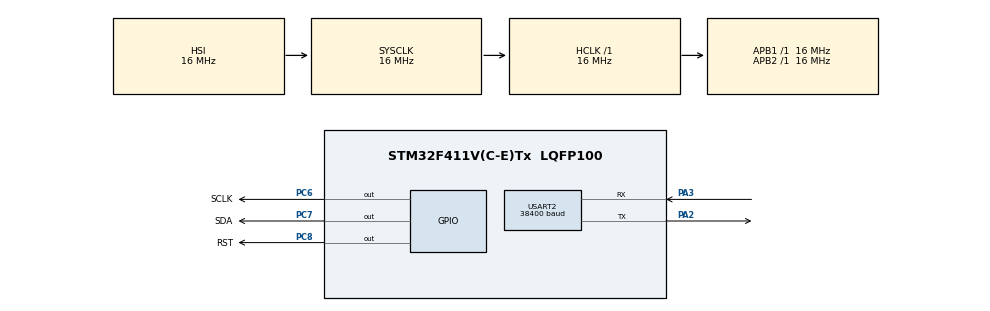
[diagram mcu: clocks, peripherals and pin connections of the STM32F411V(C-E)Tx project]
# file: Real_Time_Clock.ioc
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Mcu.Family=STM32F4
RCC.CortexFreq_Value=16000000
PC8.Signal=GPIO_Output
PC6.Signal=GPIO_Output
PC6.GPIO_Label=SCLK
USART2.BaudRate=38400
ProjectManager.StackSize=0x400
PC8.GPIO_Label=RST
PA3.Mode=Asynchronous
TIM1.Prescaler=15
ProjectManager.TargetToolchain=STM32CubeIDE
PC7.Signal=GPIO_Output
RCC.LSE_VALUE=32768
RCC.AHBFreq_Value=16000000
RCC.HSE_VALUE=25000000
board=custom
RCC.VCOOutputFreq_Value=192000000
RCC.APB2Freq_Value=16000000
Mcu.Name=STM32F411V(C-E)Tx
VP_TIM1_VS_ClockSourceINT.Mode=Internal
PA2.Signal=USART2_TX
PC7.GPIO_Label=SDA
RCC.SYSCLKFreq_VALUE=16000000
Mcu.Package=LQFP100
USART2.VirtualMode=VM_ASYNC
ProjectManager.HeapSize=0x200
RCC.HSI_VALUE=16000000
NVIC.PriorityGroup=NVIC_PRIORITYGROUP_4
PA2.Mode=Asynchronous
RCC.APB1Freq_Value=16000000
PA3.Signal=USART2_RX

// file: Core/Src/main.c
/* USER CODE BEGIN Header */
/**
  ******************************************************************************
  * @file           : main.c
  * @brief          : Main program body
  ******************************************************************************
  * @attention
  *
  * <h2><center>&copy; Copyright (c) 2021 STMicroelectronics.
  * All rights reserved.</center></h2>
  *
  * This software component is licensed by ST under BSD 3-Clause license,
  * the "License"; You may not use this file except in compliance with the
  * License. You may obtain a copy of the License at:
  *                        opensource.org/licenses/BSD-3-Clause
  *
  ******************************************************************************
  */
/* USER CODE END Header */
#include "main.h"
#include "tim.h"
#include "usart.h"
#include "gpio.h"

/* USER CODE BEGIN PD */

#define REG_SEC				0x80
#define REG_MIN				0x82
#define REG_HOUR			0x84
#define REG_DATE			0x86
#define REG_MONTH			0x88
#define REG_DAY				0x8a
#define REG_YEAR			0x8c
#define REG_CONTROL			0x8e
#define REG_CHARGER			0x90

#define HEX_to_BCD(value)	((value) % 10 + (value) / 10 * 16)
#define BCD_to_Hex(value)	((value) % 16 + (value) / 16 * 10)

#define SCLK	GPIO_PIN_6
#define SDA	GPIO_PIN_7
#define RST	GPIO_PIN_8

/* USER CODE END PD */

void SystemClock_Config(void);

/* USER CODE BEGIN 0 */

int _write(int file , char *ptr , int len){
  HAL_UART_Transmit(&huart2 , ptr , len , 50);
  return len;
}

///////////////////////////////////////////////////////////////////////////////////////////
static void Mode_Write(void) {
	GPIO_InitTypeDef GPIO_InitStructure;

	GPIO_InitStructure.Pin = SDA;
	GPIO_InitStructure.Mode =  GPIO_MODE_OUTPUT_PP;
	GPIO_InitStructure.Speed = GPIO_SPEED_HIGH;
	HAL_GPIO_Init(GPIOC, &GPIO_InitStructure);

}

static void Mode_Read(void) {
	GPIO_InitTypeDef GPIO_InitStructure;

	GPIO_InitStructure.Pin = SDA;
	GPIO_InitStructure.Mode =  GPIO_MODE_INPUT;
	GPIO_InitStructure.Pull = GPIO_PULLDOWN;
	GPIO_InitStructure.Speed = GPIO_SPEED_HIGH;
	HAL_GPIO_Init(GPIOC, &GPIO_InitStructure);
}

static void Send_Command(uint8_t command) {
	for ( uint8_t i = 0; i < 8; i ++){

		HAL_GPIO_WritePin(GPIOC, SDA, (command & 1) ?  GPIO_PIN_SET :  GPIO_PIN_RESET);
		HAL_GPIO_WritePin(GPIOC, SCLK,  GPIO_PIN_SET);

		HAL_Delay(1);
		HAL_GPIO_WritePin(GPIOC, SCLK,  GPIO_PIN_RESET);
		HAL_Delay(1);

		command >>= 1;
	}
}

static void Write_Byte(uint8_t address, uint8_t value){

	HAL_GPIO_WritePin(GPIOC, RST,  GPIO_PIN_SET);
	Send_Command(address);

	for ( uint8_t i = 0; i < 8; i ++) {
		HAL_GPIO_WritePin(GPIOC, SDA, (value & 1) ?  GPIO_PIN_SET :  GPIO_PIN_RESET);
		HAL_GPIO_WritePin(GPIOC, SCLK,  GPIO_PIN_SET);

		HAL_Delay(1);
		HAL_GPIO_WritePin(GPIOC, SCLK,  GPIO_PIN_RESET);
		HAL_Delay(1);

		value >>= 1;
	}

	HAL_GPIO_WritePin(GPIOC, RST,  GPIO_PIN_RESET);
	HAL_GPIO_WritePin(GPIOC, SDA,  GPIO_PIN_RESET);
}

static uint8_t Read_Byte(uint8_t address)
{
	uint8_t Temp = 0;

	HAL_GPIO_WritePin(GPIOC, RST,  GPIO_PIN_SET);
	address = address | 0x01;

	Send_Command(address);
	Mode_Read();
	for ( uint8_t i = 0; i < 8; i ++){
		Temp >>= 1;
		if(HAL_GPIO_ReadPin(GPIOC, SDA))
			Temp |= 0x80;

		HAL_GPIO_WritePin(GPIOC, SCLK,  GPIO_PIN_SET);
		HAL_Delay(1);
		HAL_GPIO_WritePin(GPIOC, SCLK,  GPIO_PIN_RESET);
		HAL_Delay(1);
	}
	Mode_Write();

	HAL_GPIO_WritePin(GPIOC, RST,  GPIO_PIN_RESET);
	HAL_GPIO_WritePin(GPIOC, SDA,  GPIO_PIN_RESET);
	return Temp;
}

void Write_Time(uint8_t *buffor)
{
	Write_Byte(REG_CONTROL,0x00);
	HAL_Delay(1);

	Write_Byte(REG_SEC,0x80);
	Write_Byte(REG_YEAR,HEX_to_BCD(buffor[1]));
	Write_Byte(REG_MONTH,HEX_to_BCD(buffor[2]));
	Write_Byte(REG_DATE,HEX_to_BCD(buffor[3]));
	Write_Byte(REG_HOUR,HEX_to_BCD(buffor[4]));
	Write_Byte(REG_MIN,HEX_to_BCD(buffor[5]));
	Write_Byte(REG_SEC,HEX_to_BCD(buffor[6]));
	Write_Byte(REG_DAY,HEX_to_BCD(buffor[7]));

	Write_Byte(REG_CONTROL,0x80);
	HAL_Delay(1);
}

void Read_Time(uint8_t *buffor){
   	uint8_t Temp;

	Temp = Read_Byte(REG_YEAR);
	buffor[1] = BCD_to_Hex(Temp);
	Temp = Read_Byte(REG_MONTH);
	buffor[2] = BCD_to_Hex(Temp);
	Temp = Read_Byte(REG_DATE);
	buffor[3] = BCD_to_Hex(Temp);
	Temp = Read_Byte(REG_HOUR);
	buffor[4] = BCD_to_Hex(Temp);
	Temp = Read_Byte(REG_MIN);
	buffor[5] = BCD_to_Hex(Temp);
	Temp = Read_Byte(  (REG_SEC)  ) & 0x7F ;
	buffor[6] = BCD_to_Hex(Temp);
	Temp = Read_Byte(REG_DAY);
	buffor[7] = BCD_to_Hex(Temp);
}

void RTC_Init(void){
	GPIO_InitTypeDef GPIO_InitStructure;

	GPIO_InitStructure.Pin = SCLK | SDA | RST;
	GPIO_InitStructure.Mode =  GPIO_MODE_OUTPUT_PP;
	GPIO_InitStructure.Speed = GPIO_SPEED_HIGH;
	HAL_GPIO_Init(GPIOC, &GPIO_InitStructure);

	Write_Byte(REG_CHARGER,0x00);

	HAL_GPIO_WritePin(GPIOC, RST,  GPIO_PIN_RESET);
	HAL_GPIO_WritePin(GPIOC, SCLK,  GPIO_PIN_RESET);

	DWT->CTRL |= 1 ;
}

/* USER CODE END 0 */

int main(void)
{

  /* MCU Configuration--------------------------------------------------------*/

  /* Reset of all peripherals, Initializes the Flash interface and the Systick. */
  HAL_Init();

  /* Configure the system clock */
  SystemClock_Config();

  /* Initialize all configured peripherals */
  MX_GPIO_Init();
  MX_USART2_UART_Init();
  MX_TIM1_Init();
  /* USER CODE BEGIN 2 */

  RTC_Init();

  /* USER CODE END 2 */

  /* Infinite loop */
  /* USER CODE BEGIN WHILE */

  uint8_t buffor[8] = {0,1,2,3,4,5,6,7};
  uint8_t real_time[8] = { 1 , 21 , 7 , 3 , 13 , 20 , 0 ,2};

  Write_Time(real_time);

  while (1)
  {
	  Read_Time(buffor);

	  printf(" %d:%d:%d %d-%d-20%d \n\r"  , buffor[4] , buffor[5] , buffor[6] , buffor[3] , buffor[2] , buffor[1] );

	  HAL_Delay(500);

    /* USER CODE END WHILE */

  }
}

void SystemClock_Config(void)
{
  RCC_OscInitTypeDef RCC_OscInitStruct = {0};
  RCC_ClkInitTypeDef RCC_ClkInitStruct = {0};

  /** Configure the main internal regulator output voltage
  */
  __HAL_RCC_PWR_CLK_ENABLE();
  __HAL_PWR_VOLTAGESCALING_CONFIG(PWR_REGULATOR_VOLTAGE_SCALE1);
  /** Initializes the RCC Oscillators according to the specified parameters
  * in the RCC_OscInitTypeDef structure.
  */
  RCC_OscInitStruct.OscillatorType = RCC_OSCILLATORTYPE_HSI;
  RCC_OscInitStruct.HSIState = RCC_HSI_ON;
  RCC_OscInitStruct.HSICalibrationValue = RCC_HSICALIBRATION_DEFAULT;
  RCC_OscInitStruct.PLL.PLLState = RCC_PLL_NONE;
  if (HAL_RCC_OscConfig(&RCC_OscInitStruct) != HAL_OK)
  {
    Error_Handler();
  }
  /** Initializes the CPU, AHB and APB buses clocks
  */
  RCC_ClkInitStruct.ClockType = RCC_CLOCKTYPE_HCLK|RCC_CLOCKTYPE_SYSCLK
                              |RCC_CLOCKTYPE_PCLK1|RCC_CLOCKTYPE_PCLK2;
  RCC_ClkInitStruct.SYSCLKSource = RCC_SYSCLKSOURCE_HSI;
  RCC_ClkInitStruct.AHBCLKDivider = RCC_SYSCLK_DIV1;
  RCC_ClkInitStruct.APB1CLKDivider = RCC_HCLK_DIV1;
  RCC_ClkInitStruct.APB2CLKDivider = RCC_HCLK_DIV1;

  if (HAL_RCC_ClockConfig(&RCC_ClkInitStruct, FLASH_LATENCY_0) != HAL_OK)
  {
    Error_Handler();
  }
}

void Error_Handler(void)
{
  __disable_irq();
  while (1)
  {
  }
}

/************************ (C) COPYRIGHT STMicroelectronics *****END OF FILE****/
